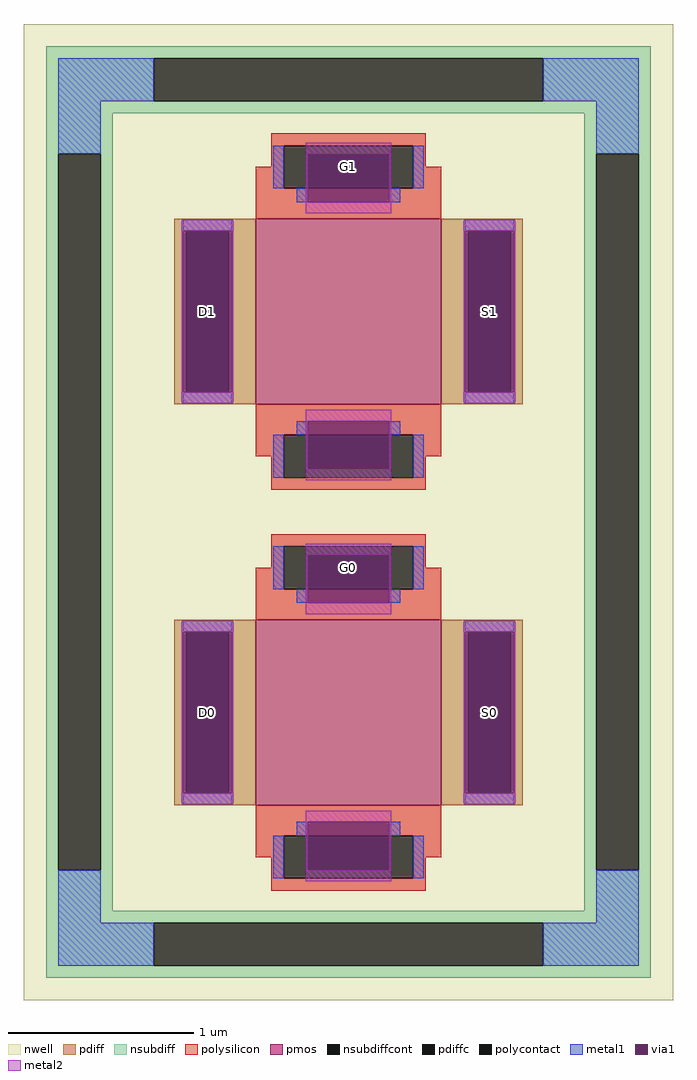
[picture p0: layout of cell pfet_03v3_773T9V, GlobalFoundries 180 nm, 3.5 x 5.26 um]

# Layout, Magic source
magic
tech gf180mcuD
magscale 1 10
<< nwell >>
rect -350 -526 350 526
<< pmos >>
rect -100 116 100 316
rect -100 -316 100 -116
<< pdiff >>
rect -188 303 -100 316
rect -188 129 -175 303
rect -129 129 -100 303
rect -188 116 -100 129
rect 100 303 188 316
rect 100 129 129 303
rect 175 129 188 303
rect 100 116 188 129
rect -188 -129 -100 -116
rect -188 -303 -175 -129
rect -129 -303 -100 -129
rect -188 -316 -100 -303
rect 100 -129 188 -116
rect 100 -303 129 -129
rect 175 -303 188 -129
rect 100 -316 188 -303
<< pdiffc >>
rect -175 129 -129 303
rect 129 129 175 303
rect -175 -303 -129 -129
rect 129 -303 175 -129
<< nsubdiff >>
rect -326 489 326 502
rect -326 443 -210 489
rect 210 443 326 489
rect -326 430 326 443
rect -326 386 -254 430
rect -326 -386 -313 386
rect -267 -386 -254 386
rect 254 386 326 430
rect -326 -430 -254 -386
rect 254 -386 267 386
rect 313 -386 326 386
rect 254 -430 326 -386
rect -326 -443 326 -430
rect -326 -489 -210 -443
rect 210 -489 326 -443
rect -326 -502 326 -489
<< nsubdiffcont >>
rect -210 443 210 489
rect -313 -386 -267 386
rect 267 -386 313 386
rect -210 -489 210 -443
<< polysilicon >>
rect -83 395 83 408
rect -83 372 -70 395
rect -100 349 -70 372
rect 70 372 83 395
rect 70 349 100 372
rect -100 316 100 349
rect -100 83 100 116
rect -100 60 -70 83
rect -83 37 -70 60
rect 70 60 100 83
rect 70 37 83 60
rect -83 24 83 37
rect -83 -37 83 -24
rect -83 -60 -70 -37
rect -100 -83 -70 -60
rect 70 -60 83 -37
rect 70 -83 100 -60
rect -100 -116 100 -83
rect -100 -349 100 -316
rect -100 -372 -70 -349
rect -83 -395 -70 -372
rect 70 -372 100 -349
rect 70 -395 83 -372
rect -83 -408 83 -395
<< polycontact >>
rect -70 349 70 395
rect -70 37 70 83
rect -70 -83 70 -37
rect -70 -395 70 -349
<< metal1 >>
rect -313 443 -210 489
rect 210 443 313 489
rect -313 386 -267 443
rect -81 349 -70 395
rect 70 349 81 395
rect 267 386 313 443
rect -56 334 -44 349
rect 44 334 56 349
rect -178 303 -126 315
rect -178 117 -126 129
rect 126 303 178 315
rect 126 117 178 129
rect -56 83 -44 98
rect 44 83 56 98
rect -81 37 -70 83
rect 70 37 81 83
rect -81 -83 -70 -37
rect 70 -83 81 -37
rect -56 -98 -44 -83
rect 44 -98 56 -83
rect -178 -129 -126 -117
rect -178 -315 -126 -303
rect 126 -129 178 -117
rect 126 -315 178 -303
rect -56 -349 -44 -334
rect 44 -349 56 -334
rect -313 -443 -267 -386
rect -81 -395 -70 -349
rect 70 -395 81 -349
rect 267 -443 313 -386
rect -313 -489 -210 -443
rect 210 -489 313 -443
<< via1 >>
rect -44 349 44 386
rect -44 334 44 349
rect -178 129 -175 303
rect -175 129 -129 303
rect -129 129 -126 303
rect 126 129 129 303
rect 129 129 175 303
rect 175 129 178 303
rect -44 83 44 98
rect -44 46 44 83
rect -44 -83 44 -46
rect -44 -98 44 -83
rect -178 -303 -175 -129
rect -175 -303 -129 -129
rect -129 -303 -126 -129
rect 126 -303 129 -129
rect 129 -303 175 -129
rect 175 -303 178 -129
rect -44 -349 44 -334
rect -44 -386 44 -349
<< metal2 >>
rect -46 386 46 398
rect -46 334 -44 386
rect 44 334 46 386
rect -46 322 46 334
rect -180 303 -124 315
rect -180 129 -178 303
rect -126 129 -124 303
rect -180 117 -124 129
rect 124 303 180 315
rect 124 129 126 303
rect 178 129 180 303
rect 124 117 180 129
rect -46 98 46 110
rect -46 46 -44 98
rect 44 46 46 98
rect -46 34 46 46
rect -46 -46 46 -34
rect -46 -98 -44 -46
rect 44 -98 46 -46
rect -46 -110 46 -98
rect -180 -129 -124 -117
rect -180 -303 -178 -129
rect -126 -303 -124 -129
rect -180 -315 -124 -303
rect 124 -129 180 -117
rect 124 -303 126 -129
rect 178 -303 180 -129
rect 124 -315 180 -303
rect -46 -334 46 -322
rect -46 -386 -44 -334
rect 44 -386 46 -334
rect -46 -398 46 -386
<< labels >>
rlabel pdiffc -152 -216 -152 -216 0 D0
port 1 nsew
rlabel pdiffc 152 -216 152 -216 0 S0
port 2 nsew
rlabel polycontact 0 -60 0 -60 0 G0
port 3 nsew
rlabel pdiffc -152 216 -152 216 0 D1
port 4 nsew
rlabel pdiffc 152 216 152 216 0 S1
port 5 nsew
rlabel polycontact 0 372 0 372 0 G1
port 6 nsew
<< properties >>
string FIXED_BBOX -290 -466 290 466
string gencell pfet_03v3
string library gf180mcu
string parameters w 1.0 l 1.0 m 2 nf 1 diffcov 100 polycov 80 guard 1 glc 1 grc 1 gtc 1 gbc 1 tbcov 100 rlcov 100 topc 1 botc 1 poverlap 0 doverlap 0 lmin 0.28 wmin 0.22 class mosfet full_metal 1 viasrc 100 viadrn 100 viagate 50 viagb 0 viagr 0 viagl 0 viagt 0 doports 1 compatible {pfet_03v3 pfet_05v0 pfet_06v0}
<< end >>
